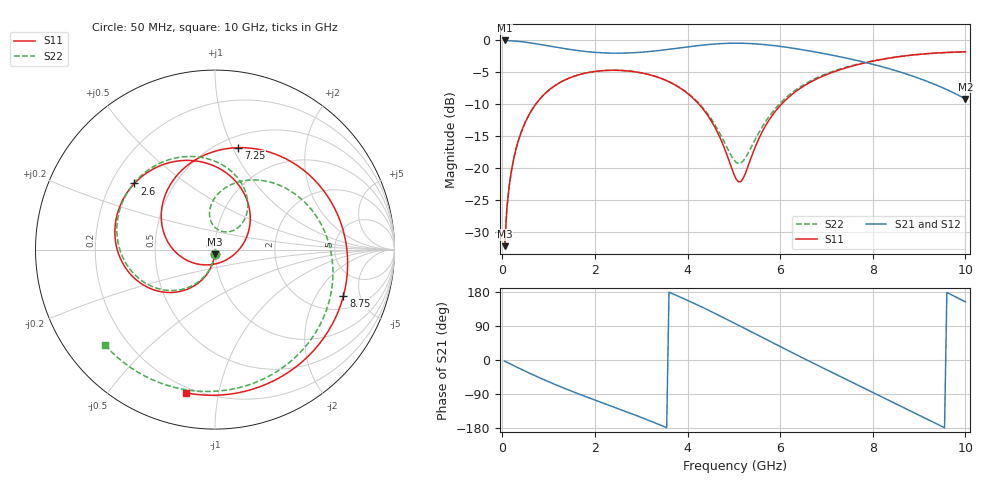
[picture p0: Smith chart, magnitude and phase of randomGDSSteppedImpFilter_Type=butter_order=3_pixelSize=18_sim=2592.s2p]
! freq	dB(S11)	phase(S11)	dB(S12)	phase(S12)
!  dB(S21)	phase(S21)	dB(S22)	phase(S22)
!S-par simulation data
#  GHz  S  DB  R 50
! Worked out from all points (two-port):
!   200 points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, 50 MHz to 10 GHz, reference 50 ohm
!   highest |S21| = -0.01 dB at 50 MHz (marker M1); lowest = -9.2 dB at 10 GHz (marker M2)
!   |S21| within 3 dB of the highest: start of sweep to 7.575 GHz
!   lowest |S11| = -32.2 dB at 50 MHz (marker M3), VSWR 1.05, Z = 49.8 - j2.43 ohm
!   |S11| at or under -10 dB: start of sweep to 722.4 MHz; 4.247 GHz to 6.027 GHz (1.78 GHz wide, 34.7 % of centre)
!   |S22| runs from -32.2 to -1.8 dB; largest |S21 - S12| = 0
!   S11 on the Smith chart (normalised r, x): 50 MHz: 1.00, -0.05; 2.6 GHz: 0.30, +0.33; 7.25 GHz: 0.61, +1.05; 8.75 GHz: 2.86, -3.50; 10 GHz: 0.17, -0.81
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0.05  -32.24 -93.0  -0.01 -3.1  -0.01 -3.1  -32.24 -93.2
0.1  -26.24 -96.1  -0.02 -6.1  -0.02 -6.1  -26.24 -96.5
0.2  -20.31 -102.2  -0.06 -12.1  -0.06 -12.1  -20.31 -102.9
0.5  -12.76 -119.5  -0.28 -29.8  -0.28 -29.8  -12.77 -121.1
1.1  -7.27 -151.3  -0.99 -62.6  -0.99 -62.6  -7.27 -154.9
1.75  -5.20 178.0  -1.70 -94.2  -1.70 -94.2  -5.20 172.5
2.6  -4.72 140.6  -1.99 -132.9  -1.99 -132.9  -4.71 132.9
3.4  -5.88 103.1  -1.57 -171.0  -1.57 -171.0  -5.86 95.2
4.2  -9.63 57.5  -0.84 146.1  -0.84 146.1  -9.51 57.4
4.6  -13.73 26.5  -0.56 122.5  -0.56 122.5  -13.31 44.3
5.05  -21.73 -48.9  -0.44 94.8  -0.44 94.8  -19.11 63.8
5.2  -21.63 -97.3  -0.45 85.4  -0.45 85.4  -18.90 82.9
5.45  -16.92 -148.8  -0.53 69.7  -0.53 69.7  -15.67 98.6
5.95  -10.62 163.4  -0.89 38.4  -0.89 38.4  -10.23 87.4
6.3  -8.20 138.6  -1.25 16.9  -1.25 16.9  -7.95 70.6
6.7  -6.36 112.2  -1.73 -7.5  -1.73 -7.5  -6.18 49.4
7.25  -4.69 77.0  -2.50 -40.5  -2.50 -40.5  -4.58 19.5
7.75  -3.65 45.0  -3.30 -70.5  -3.30 -70.5  -3.59 -7.6
8.35  -2.78 6.2  -4.43 -106.4  -4.43 -106.4  -2.76 -40.2
8.75  -2.38 -19.8  -5.32 -130.4  -5.32 -130.4  -2.37 -62.4
9.4  -1.96 -62.0  -7.07 -169.6  -7.07 -169.6  -1.97 -100.4
10  -1.78 -101.3  -9.17 153.5  -9.17 153.5  -1.81 -139.1
